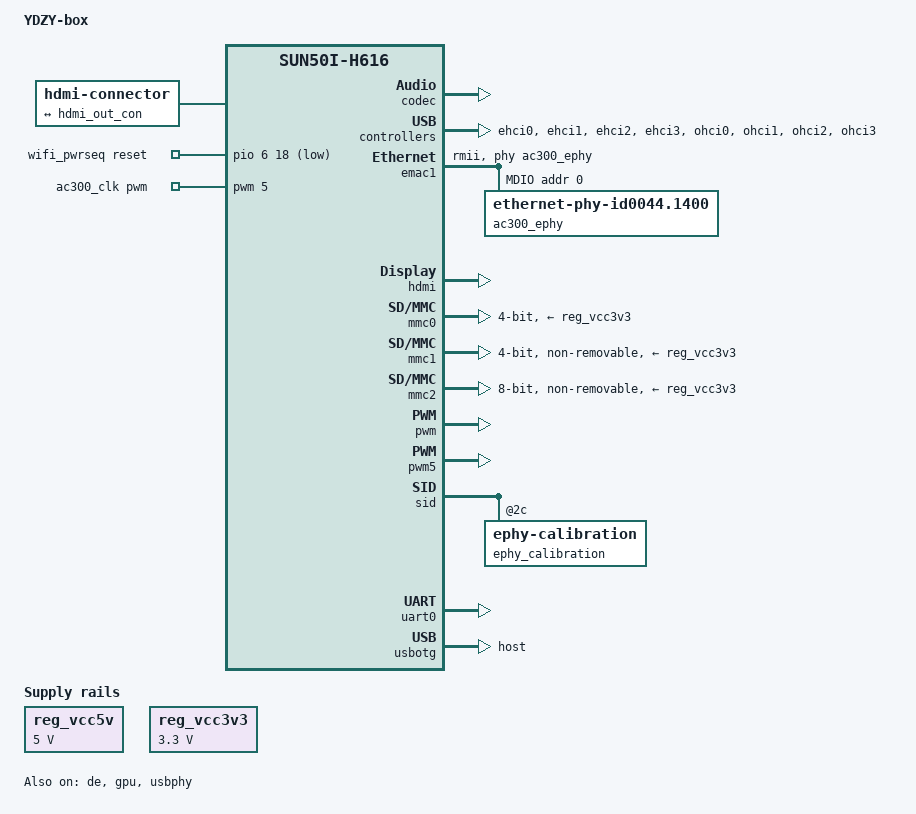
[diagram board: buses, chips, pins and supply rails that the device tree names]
// SPDX-License-Identifier: (GPL-2.0+ OR MIT)
/*
 * YDZY-box ("赢到智印" cloud print box) — Allwinner H616
 *
 * 2 GB DDR3, 32 GB eMMC, 100M EMAC1 with internal AC300 PHY,
 * RTL8189FS SDIO WiFi, HDMI, 3.5 mm line out, UART0 on PH0/PH1.
 *
 * The AXP1530 PMIC has no mainline driver, so all board supplies are
 * modelled as always-on fixed regulators: no DVFS and no power-button
 * shutdown support.
 */

/dts-v1/;

#include "sun50i-h616.dtsi"
#include "sun50i-h616-cpu-opp.dtsi"

#include <dt-bindings/gpio/gpio.h>

/ {
	model = "YDZY-box";
	compatible = "ydzy,box", "allwinner,sun50i-h616";

	aliases {
		ethernet0 = &emac1;
		serial0 = &uart0;
	};

	chosen {
		stdout-path = "serial0:115200n8";
	};

	connector {
		compatible = "hdmi-connector";
		type = "a";

		port {
			hdmi_con_in: endpoint {
				remote-endpoint = <&hdmi_out_con>;
			};
		};
	};

	reg_vcc5v: regulator-vcc5v {
		compatible = "regulator-fixed";
		regulator-name = "vcc-5v";
		regulator-min-microvolt = <5000000>;
		regulator-max-microvolt = <5000000>;
		regulator-always-on;
	};

	reg_vcc3v3: regulator-vcc3v3 {
		compatible = "regulator-fixed";
		regulator-name = "vcc-3v3";
		regulator-min-microvolt = <3300000>;
		regulator-max-microvolt = <3300000>;
		regulator-always-on;
	};

	wifi_pwrseq: wifi-pwrseq {
		compatible = "mmc-pwrseq-simple";
		reset-gpios = <&pio 6 18 GPIO_ACTIVE_LOW>;	/* PG18 */
		post-power-on-delay-ms = <200>;
	};

	ac300_clk: ac300-clk {
		compatible = "pwm-clock";
		#clock-cells = <0>;
		pwms = <&pwm 5 500 0>;
		clock-frequency = <2000000>;
	};
};

&codec {
	allwinner,audio-routing = "Line Out", "LINEOUT";
	status = "okay";
};

&de {
	status = "okay";
};

&ehci0 {
	status = "okay";
};

&ehci1 {
	status = "okay";
};

&ehci2 {
	status = "okay";
};

&ehci3 {
	status = "okay";
};

&emac1 {
	compatible = "allwinner,sun50i-h616-internal-emac";
	pinctrl-names = "default";
	pinctrl-0 = <&rmii_pins>;
	phy-mode = "rmii";
	phy-handle = <&ac300_ephy>;
	allwinner,rx-delay-ps = <3100>;
	allwinner,tx-delay-ps = <700>;
	status = "okay";

	mdio-mux {
		compatible = "allwinner,sun8i-h3-mdio-mux";
		#address-cells = <1>;
		#size-cells = <0>;
		mdio-parent-bus = <&mdio1>;

		mdio@1 {
			compatible = "allwinner,sun8i-h3-mdio-internal";
			reg = <1>;
			#address-cells = <1>;
			#size-cells = <0>;

			ac300_ephy: ethernet-phy@0 {
				compatible = "ethernet-phy-id0044.1400",
					     "allwinner,sun50i-h618-ac300-ephy",
					     "ethernet-phy-ieee802.3-c22";
				reg = <0>;
				clocks = <&ccu CLK_EMAC_25M>, <&ac300_clk>;
				clock-names = "ephy", "pwm";
				nvmem-cells = <&ephy_calibration>;
				nvmem-cell-names = "calibration";
				status = "okay";
			};
		};
	};
};

&gpu {
	status = "okay";
};

&hdmi {
	status = "okay";
};

&hdmi_out {
	hdmi_out_con: endpoint {
		remote-endpoint = <&hdmi_con_in>;
	};
};

&mmc0 {
	vmmc-supply = <&reg_vcc3v3>;
	broken-cd;
	disable-wp;
	bus-width = <4>;
	status = "okay";
};

&mmc1 {
	vmmc-supply = <&reg_vcc3v3>;
	mmc-pwrseq = <&wifi_pwrseq>;
	bus-width = <4>;
	non-removable;
	keep-power-in-suspend;
	status = "okay";
};

&mmc2 {
	vmmc-supply = <&reg_vcc3v3>;
	bus-width = <8>;
	non-removable;
	cap-mmc-hw-reset;
	status = "okay";
};

&ohci0 {
	status = "okay";
};

&ohci1 {
	status = "okay";
};

&ohci2 {
	status = "okay";
};

&ohci3 {
	status = "okay";
};

&pwm {
	status = "okay";
};

&pwm5 {
	pinctrl-names = "default";
	pinctrl-0 = <&pwm5_pin>;
	clk_bypass_output = <1>;
	status = "okay";
};

&sid {
	ephy_calibration: ephy-calibration@2c {
		reg = <0x2c 2>;
	};
};

&uart0 {
	pinctrl-names = "default";
	pinctrl-0 = <&uart0_ph_pins>;
	status = "okay";
};

&usbotg {
	dr_mode = "host";
	status = "okay";
};

&usbphy {
	status = "okay";
};
